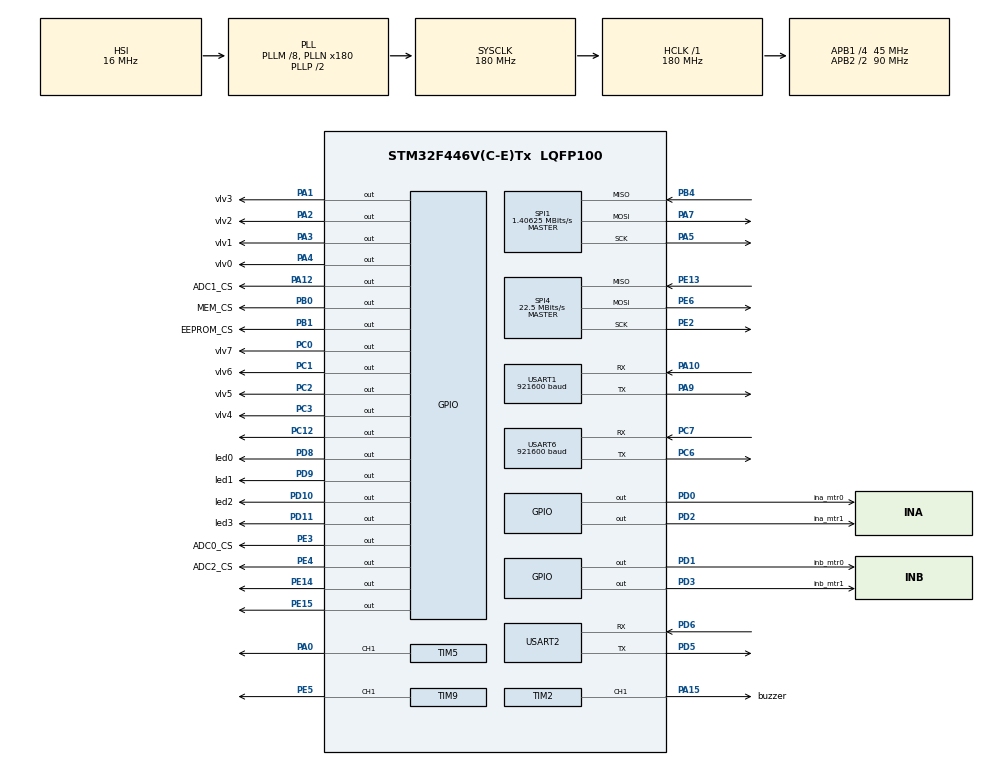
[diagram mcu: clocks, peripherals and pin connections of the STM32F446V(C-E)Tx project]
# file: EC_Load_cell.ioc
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Dma.Request0=USART6_RX
Dma.USART6_RX.0.Direction=DMA_PERIPH_TO_MEMORY
Dma.USART6_RX.0.FIFOMode=DMA_FIFOMODE_DISABLE
Dma.USART6_RX.0.Instance=DMA2_Stream1
Dma.USART6_RX.0.MemDataAlignment=DMA_MDATAALIGN_BYTE
Dma.USART6_RX.0.MemInc=DMA_MINC_ENABLE
Dma.USART6_RX.0.Mode=DMA_NORMAL
Dma.USART6_RX.0.PeriphDataAlignment=DMA_PDATAALIGN_BYTE
Dma.USART6_RX.0.PeriphInc=DMA_PINC_DISABLE
Dma.USART6_RX.0.Priority=DMA_PRIORITY_HIGH
Mcu.Family=STM32F4
Mcu.Name=STM32F446V(C-E)Tx
Mcu.Package=LQFP100
NVIC.DMA2_Stream1_IRQn=true\:0\:0\:false\:false\:true\:false
NVIC.PriorityGroup=NVIC_PRIORITYGROUP_4
NVIC.TIM4_IRQn=true\:1\:0\:true\:false\:true\:true
NVIC.TIM6_DAC_IRQn=true\:1\:0\:true\:false\:true\:true
NVIC.USART1_IRQn=true\:1\:0\:true\:false\:true\:true
NVIC.USART6_IRQn=true\:0\:0\:true\:false\:true\:true
PA0-WKUP.Signal=S_TIM5_CH1
PA1.GPIO_Label=vlv3
PA1.Signal=GPIO_Output
PA10.Mode=Asynchronous
PA10.Signal=USART1_RX
PA12.GPIO_Label=ADC1_CS
PA12.Signal=GPIO_Output
PA13.Mode=Trace_Asynchronous_SW
PA13.Signal=SYS_JTMS-SWDIO
PA14.Mode=Trace_Asynchronous_SW
PA14.Signal=SYS_JTCK-SWCLK
PA15.GPIO_Label=buzzer
PA15.Signal=S_TIM2_CH1_ETR
PA2.GPIO_Label=vlv2
PA2.Signal=GPIO_Output
PA3.GPIO_Label=vlv1
PA3.Signal=GPIO_Output
PA4.GPIO_Label=vlv0
PA4.Signal=GPIO_Output
PA5.Mode=Full_Duplex_Master
PA5.Signal=SPI1_SCK
PA7.Mode=Full_Duplex_Master
PA7.Signal=SPI1_MOSI
PA9.Mode=Asynchronous
PA9.Signal=USART1_TX
PB0.GPIO_Label=MEM_CS
PB0.Signal=GPIO_Output
PB1.GPIO_Label=EEPROM_CS
PB1.Signal=GPIO_Output
PB3.Mode=Trace_Asynchronous_SW
PB3.Signal=SYS_JTDO-SWO
PB4.Mode=Full_Duplex_Master
PB4.Signal=SPI1_MISO
PC0.GPIO_Label=vlv7
PC0.Signal=GPIO_Output
PC1.GPIO_Label=vlv6
PC1.Signal=GPIO_Output
PC12.Signal=GPIO_Output
PC2.GPIO_Label=vlv5
PC2.Signal=GPIO_Output
PC3.GPIO_Label=vlv4
PC3.Signal=GPIO_Output
PC6.Mode=Asynchronous
PC6.Signal=USART6_TX
PC7.Mode=Asynchronous
PC7.Signal=USART6_RX
PD0.GPIO_Label=ina_mtr0
PD0.Signal=GPIO_Output
PD1.GPIO_Label=inb_mtr0
PD1.Signal=GPIO_Output
PD10.GPIO_Label=led2
PD10.Signal=GPIO_Output
PD11.GPIO_Label=led3
PD11.Signal=GPIO_Output
PD2.GPIO_Label=ina_mtr1
PD2.Signal=GPIO_Output
PD3.GPIO_Label=inb_mtr1
PD3.Signal=GPIO_Output
PD5.Mode=Asynchronous
PD5.Signal=USART2_TX
PD6.Mode=Asynchronous
PD6.Signal=USART2_RX
PD8.GPIO_Label=led0
PD8.Signal=GPIO_Output
PD9.GPIO_Label=led1
PD9.Signal=GPIO_Output
PE13.Mode=Full_Duplex_Master
PE13.Signal=SPI4_MISO
PE14.Signal=GPIO_Output
PE15.Signal=GPIO_Output
PE2.Mode=Full_Duplex_Master
PE2.Signal=SPI4_SCK
PE3.GPIO_Label=ADC0_CS
PE3.Signal=GPIO_Output
PE4.GPIO_Label=ADC2_CS
PE4.Signal=GPIO_Output
PE5.Signal=S_TIM9_CH1
PE6.Mode=Full_Duplex_Master
PE6.Signal=SPI4_MOSI
ProjectManager.HeapSize=0x200
ProjectManager.StackSize=0x400
ProjectManager.TargetToolchain=TrueSTUDIO
RCC.AHBFreq_Value=180000000
RCC.APB1CLKDivider=RCC_HCLK_DIV4
RCC.APB1Freq_Value=45000000
RCC.APB1TimFreq_Value=90000000
RCC.APB2CLKDivider=RCC_HCLK_DIV2
RCC.APB2Freq_Value=90000000
RCC.APB2TimFreq_Value=180000000
RCC.CortexFreq_Value=180000000
RCC.HCLKFreq_Value=180000000
RCC.HSE_VALUE=16000000
RCC.PLLM=8
RCC.PLLN=180
RCC.SYSCLKFreq_VALUE=180000000
RCC.SYSCLKSource=RCC_SYSCLKSOURCE_PLLCLK
RCC.USBFreq_Value=180000000
RCC.VCOOutputFreq_Value=360000000
SH.S_TIM2_CH1_ETR.0=TIM2_CH1,PWM Generation1 CH1
SH.S_TIM5_CH1.0=TIM5_CH1,PWM Generation1 CH1
SH.S_TIM9_CH1.0=TIM9_CH1,PWM Generation1 CH1
SPI1.BaudRatePrescaler=SPI_BAUDRATEPRESCALER_64
SPI1.CLKPhase=SPI_PHASE_2EDGE
SPI1.CLKPolarity=SPI_POLARITY_HIGH
SPI1.CalculateBaudRate=1.40625 MBits/s
SPI1.Direction=SPI_DIRECTION_2LINES
SPI1.Mode=SPI_MODE_MASTER
SPI1.VirtualType=VM_MASTER
SPI4.BaudRatePrescaler=SPI_BAUDRATEPRESCALER_4
SPI4.CalculateBaudRate=22.5 MBits/s
SPI4.Direction=SPI_DIRECTION_2LINES
SPI4.Mode=SPI_MODE_MASTER
SPI4.VirtualType=VM_MASTER
TIM10.Period=4000
TIM10.Prescaler=180
TIM2.Channel-PWM\ Generation1\ CH1=TIM_CHANNEL_1
TIM2.Period=4294967295
TIM2.Prescaler=90
TIM4.Period=10000
TIM4.Prescaler=900
TIM5.Channel-PWM\ Generation1\ CH1=TIM_CHANNEL_1
TIM5.Prescaler=0
TIM6.Period=10000
TIM6.Prescaler=900
TIM7.Prescaler=900
TIM8.Period=32768
TIM8.Prescaler=4
TIM9.Channel-PWM\ Generation1\ CH1=TIM_CHANNEL_1
TIM9.Period=32768
TIM9.Prescaler=0
USART1.BaudRate=921600
USART1.VirtualMode=VM_ASYNC
USART2.VirtualMode=VM_ASYNC
USART6.BaudRate=921600
USART6.VirtualMode=VM_ASYNC
VP_TIM10_VS_ClockSourceINT.Mode=Enable_Timer
VP_TIM3_VS_ClockSourceINT.Mode=Internal
VP_TIM4_VS_ClockSourceINT.Mode=Internal
VP_TIM6_VS_ClockSourceINT.Mode=Enable_Timer
VP_TIM7_VS_ClockSourceINT.Mode=Enable_Timer
VP_TIM8_VS_ClockSourceINT.Mode=Internal
board=EC_Load_cell

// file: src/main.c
/**
  ******************************************************************************
  * @file           : main.c
  * @brief          : Main program body
  ******************************************************************************
  ** This notice applies to any and all portions of this file
  * that are not between comment pairs USER CODE BEGIN and
  * USER CODE END. Other portions of this file, whether
  * inserted by the user or by software development tools
  * are owned by their respective copyright owners.
  *
  * COPYRIGHT(c) 2018 STMicroelectronics
  *
  * Redistribution and use in source and binary forms, with or without modification,
  * are permitted provided that the following conditions are met:
  *   1. Redistributions of source code must retain the above copyright notice,
  *      this list of conditions and the following disclaimer.
  *   2. Redistributions in binary form must reproduce the above copyright notice,
  *      this list of conditions and the following disclaimer in the documentation
  *      and/or other materials provided with the distribution.
  *   3. Neither the name of STMicroelectronics nor the names of its contributors
  *      may be used to endorse or promote products derived from this software
  *      without specific prior written permission.
  *
  * THIS SOFTWARE IS PROVIDED BY THE COPYRIGHT HOLDERS AND CONTRIBUTORS "AS IS"
  * AND ANY EXPRESS OR IMPLIED WARRANTIES, INCLUDING, BUT NOT LIMITED TO, THE
  * IMPLIED WARRANTIES OF MERCHANTABILITY AND FITNESS FOR A PARTICULAR PURPOSE ARE
  * DISCLAIMED. IN NO EVENT SHALL THE COPYRIGHT HOLDER OR CONTRIBUTORS BE LIABLE
  * FOR ANY DIRECT, INDIRECT, INCIDENTAL, SPECIAL, EXEMPLARY, OR CONSEQUENTIAL
  * DAMAGES (INCLUDING, BUT NOT LIMITED TO, PROCUREMENT OF SUBSTITUTE GOODS OR
  * SERVICES; LOSS OF USE, DATA, OR PROFITS; OR BUSINESS INTERRUPTION) HOWEVER
  * CAUSED AND ON ANY THEORY OF LIABILITY, WHETHER IN CONTRACT, STRICT LIABILITY,
  * OR TORT (INCLUDING NEGLIGENCE OR OTHERWISE) ARISING IN ANY WAY OUT OF THE USE
  * OF THIS SOFTWARE, EVEN IF ADVISED OF THE POSSIBILITY OF SUCH DAMAGE.
  *
  ******************************************************************************
  */
#include "main.h"
#include "stm32f4xx_hal.h"

SPI_HandleTypeDef hspi1;
SPI_HandleTypeDef hspi4;

TIM_HandleTypeDef htim2;
TIM_HandleTypeDef htim3;
TIM_HandleTypeDef htim4;
TIM_HandleTypeDef htim5;
TIM_HandleTypeDef htim6;
TIM_HandleTypeDef htim7;
TIM_HandleTypeDef htim8;
TIM_HandleTypeDef htim9;
TIM_HandleTypeDef htim10;

UART_HandleTypeDef huart1;
UART_HandleTypeDef huart2;
UART_HandleTypeDef huart6;
DMA_HandleTypeDef hdma_usart6_rx;

/* USER CODE BEGIN PV */
/* Private variables ---------------------------------------------------------*/

/* USER CODE END PV */

void SystemClock_Config(void);
static void MX_GPIO_Init(void);
static void MX_DMA_Init(void);
static void MX_SPI1_Init(void);
static void MX_SPI4_Init(void);
static void MX_TIM2_Init(void);
static void MX_TIM9_Init(void);
static void MX_USART1_UART_Init(void);
static void MX_USART2_UART_Init(void);
static void MX_USART6_UART_Init(void);
static void MX_TIM3_Init(void);
static void MX_TIM4_Init(void);
static void MX_TIM6_Init(void);
static void MX_TIM7_Init(void);
static void MX_TIM8_Init(void);
static void MX_TIM10_Init(void);
static void MX_TIM5_Init(void);

void HAL_TIM_MspPostInit(TIM_HandleTypeDef *htim);

/* USER CODE BEGIN PFP */
/* Private function prototypes -----------------------------------------------*/

/* USER CODE END PFP */

/* USER CODE BEGIN 0 */

#define adc0 50
#define adc1 51
#define adc2 52
#define adc3 53
#define adc4 54

#define sram 60

#define millis	((__HAL_TIM_GET_COUNTER(&htim2))/1000)

uint16_t adc_data[5][16];		// 5 ADCs, 16 channels each.
float load[6];
float thrust_load;

#define SLOPE 0
#define OFFSET 1
float load_cal[2][6] = {{
		// SLOPES
		0.5,
		0.5,
		0.5,
		0.5,
		1,
		1,
},{
		// OFFSETS
		0,
		0,
		0,
		0,
		0,
		0,
}};

void set_device(uint8_t device, GPIO_PinState state){
	switch(device){
		case adc0:
			HAL_GPIO_WritePin(GPIOC, GPIO_PIN_12, state);
			break;
		case adc1:
			HAL_GPIO_WritePin(GPIOE, GPIO_PIN_15, state);
			break;
		case adc2:
			HAL_GPIO_WritePin(GPIOD, GPIO_PIN_0, state);
			break;
		case adc3:
			HAL_GPIO_WritePin(GPIOE, GPIO_PIN_14, state);
			break;
		case adc4:
			HAL_GPIO_WritePin(GPIOE, GPIO_PIN_4, state);
			break;

		case sram:
			HAL_GPIO_WritePin(GPIOC, GPIO_PIN_14, state);
			break;

		default:
			break;
	}
}
void select_device(uint8_t device){
	set_device(device, GPIO_PIN_RESET);
}
void release_device(uint8_t device){
	set_device(device, GPIO_PIN_SET);
}
void print_adc_raw(UART_HandleTypeDef device){

	uint8_t line[255];

	snprintf(line, sizeof(line), "\f\r\nChannel\tADC0\tADC1\tADC2\tADC3\tADC4\r\n", adc_data);
	while(HAL_UART_GetState(&device) == HAL_UART_STATE_BUSY_TX);
	HAL_UART_Transmit(&device, (uint8_t*)line, strlen(line), 1);

	for(uint8_t channel = 0; channel <= 15; channel++){
		HAL_Delay(40);
		snprintf(line, sizeof(line), "%d:\t%d\t%d\t%d\t%d\t%d\t\r\n", channel, adc_data[0][channel], adc_data[1][channel], adc_data[2][channel], adc_data[3][channel], adc_data[4][channel]);
		while(HAL_UART_GetState(&huart1) == HAL_UART_STATE_BUSY_TX);
		HAL_UART_Transmit(&device, (uint8_t*)line, strlen(line), 1);
	}

}
// Hardware wrappers
void read_adc(SPI_HandleTypeDef* SPI_BUS){

	// Temp Buffers
	uint8_t tx[2];
	uint8_t rx[2];

	 __disable_irq();

	uint8_t adcn = adc3;

		// Select channel 0 to start
		tx[0] = 0;
		tx[1] = 0b0000100;
		select_device(adcn);
		if(HAL_SPI_TransmitReceive(SPI_BUS, tx, rx, 2, 0xffff) ==  HAL_TIMEOUT){
		}
		release_device(adcn);

		for(uint8_t channel = 1; channel <= 16; channel++){

			tx[0] = (channel >> 1) | 0b00001000;
			tx[1] = (channel << 7) | 0b00000100;
			select_device(adcn);
			if(HAL_SPI_TransmitReceive(SPI_BUS, tx, rx, 2, 0xffff) == HAL_TIMEOUT){

			}

			release_device(adcn);
			adc_data[adcn-adc0][channel-1] = ((rx[1])|(rx[0] << 8)) & 0x0FFF;

		}

	 __enable_irq();
}

void scale_readings(){
	load[0] = adc_data[3][15];
	load[1] = adc_data[3][14];
	load[2] = adc_data[3][13];
	load[3] = adc_data[3][12];
	for(uint8_t n = 0; n < 6; n++){
		load[n] -= load_cal[OFFSET][n];
		load[n] *= load_cal[SLOPE][n];
	}
	thrust_load = load[0]+load[1]+load[2]+load[3];
}
/* USER CODE END 0 */

int main(void)
{

  /* MCU Configuration----------------------------------------------------------*/

  /* Reset of all peripherals, Initializes the Flash interface and the Systick. */
  HAL_Init();

  /* Configure the system clock */
  SystemClock_Config();

  /* Initialize all configured peripherals */
  MX_GPIO_Init();
  MX_DMA_Init();
  MX_SPI1_Init();
  MX_SPI4_Init();
  MX_TIM2_Init();
  MX_TIM9_Init();
  MX_USART1_UART_Init();
  MX_USART2_UART_Init();
  MX_USART6_UART_Init();
  MX_TIM3_Init();
  MX_TIM4_Init();
  MX_TIM6_Init();
  MX_TIM7_Init();
  MX_TIM8_Init();
  MX_TIM10_Init();
  MX_TIM5_Init();
  /* USER CODE BEGIN 2 */

  release_device(adc0);
  	release_device(adc1);
  	release_device(adc2);
  	release_device(adc3);
  	release_device(adc4);
  	release_device(sram);

  uint8_t tx[2];
  			uint8_t rx[2];

  			for(uint8_t adcn = adc0; adcn <= adc4; adcn++){

  				// Select channel 0 to start
  				tx[0] = 0;
  				tx[1] = 0;
  				select_device(adcn);
  				HAL_SPI_TransmitReceive_IT(&hspi1, tx, rx, 2);
  				release_device(adcn);
  			}
  /* USER CODE END 2 */

  /* Infinite loop */
  /* USER CODE BEGIN WHILE */
  while (1)
  {
		read_adc(&hspi1);
		scale_readings();
		uint8_t* msg[200];
		uint32_t time = HAL_GetTick();
		snprintf(msg, sizeof(msg), "%d,%.1f,%.1f,%.1f,%.1f,\r\n", time, load[0], load[1], load[2], load[3]);
		HAL_UART_Transmit(&huart1, msg, strlen(msg), 0xffff);
		HAL_Delay(1);
  /* USER CODE END WHILE */

  }

}

void SystemClock_Config(void)
{

  RCC_OscInitTypeDef RCC_OscInitStruct;
  RCC_ClkInitTypeDef RCC_ClkInitStruct;

    /**Configure the main internal regulator output voltage
    */
  __HAL_RCC_PWR_CLK_ENABLE();

  __HAL_PWR_VOLTAGESCALING_CONFIG(PWR_REGULATOR_VOLTAGE_SCALE1);

    /**Initializes the CPU, AHB and APB busses clocks
    */
  RCC_OscInitStruct.OscillatorType = RCC_OSCILLATORTYPE_HSI;
  RCC_OscInitStruct.HSIState = RCC_HSI_ON;
  RCC_OscInitStruct.HSICalibrationValue = 16;
  RCC_OscInitStruct.PLL.PLLState = RCC_PLL_ON;
  RCC_OscInitStruct.PLL.PLLSource = RCC_PLLSOURCE_HSI;
  RCC_OscInitStruct.PLL.PLLM = 8;
  RCC_OscInitStruct.PLL.PLLN = 180;
  RCC_OscInitStruct.PLL.PLLP = RCC_PLLP_DIV2;
  RCC_OscInitStruct.PLL.PLLQ = 2;
  RCC_OscInitStruct.PLL.PLLR = 2;
  if (HAL_RCC_OscConfig(&RCC_OscInitStruct) != HAL_OK)
  {
    _Error_Handler(__FILE__, __LINE__);
  }

    /**Activate the Over-Drive mode
    */
  if (HAL_PWREx_EnableOverDrive() != HAL_OK)
  {
    _Error_Handler(__FILE__, __LINE__);
  }

    /**Initializes the CPU, AHB and APB busses clocks
    */
  RCC_ClkInitStruct.ClockType = RCC_CLOCKTYPE_HCLK|RCC_CLOCKTYPE_SYSCLK
                              |RCC_CLOCKTYPE_PCLK1|RCC_CLOCKTYPE_PCLK2;
  RCC_ClkInitStruct.SYSCLKSource = RCC_SYSCLKSOURCE_PLLCLK;
  RCC_ClkInitStruct.AHBCLKDivider = RCC_SYSCLK_DIV1;
  RCC_ClkInitStruct.APB1CLKDivider = RCC_HCLK_DIV4;
  RCC_ClkInitStruct.APB2CLKDivider = RCC_HCLK_DIV2;

  if (HAL_RCC_ClockConfig(&RCC_ClkInitStruct, FLASH_LATENCY_5) != HAL_OK)
  {
    _Error_Handler(__FILE__, __LINE__);
  }

    /**Configure the Systick interrupt time
    */
  HAL_SYSTICK_Config(HAL_RCC_GetHCLKFreq()/1000);

    /**Configure the Systick
    */
  HAL_SYSTICK_CLKSourceConfig(SYSTICK_CLKSOURCE_HCLK);

  /* SysTick_IRQn interrupt configuration */
  HAL_NVIC_SetPriority(SysTick_IRQn, 1, 0);
}

/* SPI1 init function */
static void MX_SPI1_Init(void)
{

  /* SPI1 parameter configuration*/
  hspi1.Instance = SPI1;
  hspi1.Init.Mode = SPI_MODE_MASTER;
  hspi1.Init.Direction = SPI_DIRECTION_2LINES;
  hspi1.Init.DataSize = SPI_DATASIZE_8BIT;
  hspi1.Init.CLKPolarity = SPI_POLARITY_HIGH;
  hspi1.Init.CLKPhase = SPI_PHASE_2EDGE;
  hspi1.Init.NSS = SPI_NSS_SOFT;
  hspi1.Init.BaudRatePrescaler = SPI_BAUDRATEPRESCALER_64;
  hspi1.Init.FirstBit = SPI_FIRSTBIT_MSB;
  hspi1.Init.TIMode = SPI_TIMODE_DISABLE;
  hspi1.Init.CRCCalculation = SPI_CRCCALCULATION_DISABLE;
  hspi1.Init.CRCPolynomial = 10;
  if (HAL_SPI_Init(&hspi1) != HAL_OK)
  {
    _Error_Handler(__FILE__, __LINE__);
  }

}

/* SPI4 init function */
static void MX_SPI4_Init(void)
{

  /* SPI4 parameter configuration*/
  hspi4.Instance = SPI4;
  hspi4.Init.Mode = SPI_MODE_MASTER;
  hspi4.Init.Direction = SPI_DIRECTION_2LINES;
  hspi4.Init.DataSize = SPI_DATASIZE_8BIT;
  hspi4.Init.CLKPolarity = SPI_POLARITY_LOW;
  hspi4.Init.CLKPhase = SPI_PHASE_1EDGE;
  hspi4.Init.NSS = SPI_NSS_SOFT;
  hspi4.Init.BaudRatePrescaler = SPI_BAUDRATEPRESCALER_4;
  hspi4.Init.FirstBit = SPI_FIRSTBIT_MSB;
  hspi4.Init.TIMode = SPI_TIMODE_DISABLE;
  hspi4.Init.CRCCalculation = SPI_CRCCALCULATION_DISABLE;
  hspi4.Init.CRCPolynomial = 10;
  if (HAL_SPI_Init(&hspi4) != HAL_OK)
  {
    _Error_Handler(__FILE__, __LINE__);
  }

}

/* TIM2 init function */
static void MX_TIM2_Init(void)
{

  TIM_MasterConfigTypeDef sMasterConfig;
  TIM_OC_InitTypeDef sConfigOC;

  htim2.Instance = TIM2;
  htim2.Init.Prescaler = 90;
  htim2.Init.CounterMode = TIM_COUNTERMODE_UP;
  htim2.Init.Period = 4294967295;
  htim2.Init.ClockDivision = TIM_CLOCKDIVISION_DIV1;
  if (HAL_TIM_PWM_Init(&htim2) != HAL_OK)
  {
    _Error_Handler(__FILE__, __LINE__);
  }

  sMasterConfig.MasterOutputTrigger = TIM_TRGO_RESET;
  sMasterConfig.MasterSlaveMode = TIM_MASTERSLAVEMODE_DISABLE;
  if (HAL_TIMEx_MasterConfigSynchronization(&htim2, &sMasterConfig) != HAL_OK)
  {
    _Error_Handler(__FILE__, __LINE__);
  }

  sConfigOC.OCMode = TIM_OCMODE_PWM1;
  sConfigOC.Pulse = 0;
  sConfigOC.OCPolarity = TIM_OCPOLARITY_HIGH;
  sConfigOC.OCFastMode = TIM_OCFAST_DISABLE;
  if (HAL_TIM_PWM_ConfigChannel(&htim2, &sConfigOC, TIM_CHANNEL_1) != HAL_OK)
  {
    _Error_Handler(__FILE__, __LINE__);
  }

  HAL_TIM_MspPostInit(&htim2);

}

/* TIM3 init function */
static void MX_TIM3_Init(void)
{

  TIM_ClockConfigTypeDef sClockSourceConfig;
  TIM_MasterConfigTypeDef sMasterConfig;

  htim3.Instance = TIM3;
  htim3.Init.Prescaler = 0;
  htim3.Init.CounterMode = TIM_COUNTERMODE_UP;
  htim3.Init.Period = 0;
  htim3.Init.ClockDivision = TIM_CLOCKDIVISION_DIV1;
  if (HAL_TIM_Base_Init(&htim3) != HAL_OK)
  {
    _Error_Handler(__FILE__, __LINE__);
  }

  sClockSourceConfig.ClockSource = TIM_CLOCKSOURCE_INTERNAL;
  if (HAL_TIM_ConfigClockSource(&htim3, &sClockSourceConfig) != HAL_OK)
  {
    _Error_Handler(__FILE__, __LINE__);
  }

  sMasterConfig.MasterOutputTrigger = TIM_TRGO_RESET;
  sMasterConfig.MasterSlaveMode = TIM_MASTERSLAVEMODE_DISABLE;
  if (HAL_TIMEx_MasterConfigSynchronization(&htim3, &sMasterConfig) != HAL_OK)
  {
    _Error_Handler(__FILE__, __LINE__);
  }

}

/* TIM4 init function */
static void MX_TIM4_Init(void)
{

  TIM_ClockConfigTypeDef sClockSourceConfig;
  TIM_MasterConfigTypeDef sMasterConfig;

  htim4.Instance = TIM4;
  htim4.Init.Prescaler = 900;
  htim4.Init.CounterMode = TIM_COUNTERMODE_UP;
  htim4.Init.Period = 10000;
  htim4.Init.ClockDivision = TIM_CLOCKDIVISION_DIV1;
  if (HAL_TIM_Base_Init(&htim4) != HAL_OK)
  {
    _Error_Handler(__FILE__, __LINE__);
  }

  sClockSourceConfig.ClockSource = TIM_CLOCKSOURCE_INTERNAL;
  if (HAL_TIM_ConfigClockSource(&htim4, &sClockSourceConfig) != HAL_OK)
  {
    _Error_Handler(__FILE__, __LINE__);
  }

  sMasterConfig.MasterOutputTrigger = TIM_TRGO_RESET;
  sMasterConfig.MasterSlaveMode = TIM_MASTERSLAVEMODE_DISABLE;
  if (HAL_TIMEx_MasterConfigSynchronization(&htim4, &sMasterConfig) != HAL_OK)
  {
    _Error_Handler(__FILE__, __LINE__);
  }

}

/* TIM5 init function */
static void MX_TIM5_Init(void)
{

  TIM_MasterConfigTypeDef sMasterConfig;
  TIM_OC_InitTypeDef sConfigOC;

  htim5.Instance = TIM5;
  htim5.Init.Prescaler = 0;
  htim5.Init.CounterMode = TIM_COUNTERMODE_UP;
  htim5.Init.Period = 0;
  htim5.Init.ClockDivision = TIM_CLOCKDIVISION_DIV1;
  if (HAL_TIM_PWM_Init(&htim5) != HAL_OK)
  {
    _Error_Handler(__FILE__, __LINE__);
  }

  sMasterConfig.MasterOutputTrigger = TIM_TRGO_RESET;
  sMasterConfig.MasterSlaveMode = TIM_MASTERSLAVEMODE_DISABLE;
  if (HAL_TIMEx_MasterConfigSynchronization(&htim5, &sMasterConfig) != HAL_OK)
  {
    _Error_Handler(__FILE__, __LINE__);
  }

  sConfigOC.OCMode = TIM_OCMODE_PWM1;
  sConfigOC.Pulse = 0;
  sConfigOC.OCPolarity = TIM_OCPOLARITY_HIGH;
  sConfigOC.OCFastMode = TIM_OCFAST_DISABLE;
  if (HAL_TIM_PWM_ConfigChannel(&htim5, &sConfigOC, TIM_CHANNEL_1) != HAL_OK)
  {
    _Error_Handler(__FILE__, __LINE__);
  }

  HAL_TIM_MspPostInit(&htim5);

}

/* TIM6 init function */
static void MX_TIM6_Init(void)
{

  TIM_MasterConfigTypeDef sMasterConfig;

  htim6.Instance = TIM6;
  htim6.Init.Prescaler = 900;
  htim6.Init.CounterMode = TIM_COUNTERMODE_UP;
  htim6.Init.Period = 10000;
  if (HAL_TIM_Base_Init(&htim6) != HAL_OK)
  {
    _Error_Handler(__FILE__, __LINE__);
  }

  sMasterConfig.MasterOutputTrigger = TIM_TRGO_RESET;
  sMasterConfig.MasterSlaveMode = TIM_MASTERSLAVEMODE_DISABLE;
  if (HAL_TIMEx_MasterConfigSynchronization(&htim6, &sMasterConfig) != HAL_OK)
  {
    _Error_Handler(__FILE__, __LINE__);
  }

}

/* TIM7 init function */
static void MX_TIM7_Init(void)
{

  TIM_MasterConfigTypeDef sMasterConfig;

  htim7.Instance = TIM7;
  htim7.Init.Prescaler = 900;
  htim7.Init.CounterMode = TIM_COUNTERMODE_UP;
  htim7.Init.Period = 0;
  if (HAL_TIM_Base_Init(&htim7) != HAL_OK)
  {
    _Error_Handler(__FILE__, __LINE__);
  }

  sMasterConfig.MasterOutputTrigger = TIM_TRGO_RESET;
  sMasterConfig.MasterSlaveMode = TIM_MASTERSLAVEMODE_DISABLE;
  if (HAL_TIMEx_MasterConfigSynchronization(&htim7, &sMasterConfig) != HAL_OK)
  {
    _Error_Handler(__FILE__, __LINE__);
  }

}

/* TIM8 init function */
static void MX_TIM8_Init(void)
{

  TIM_ClockConfigTypeDef sClockSourceConfig;
  TIM_MasterConfigTypeDef sMasterConfig;

  htim8.Instance = TIM8;
  htim8.Init.Prescaler = 4;
  htim8.Init.CounterMode = TIM_COUNTERMODE_UP;
  htim8.Init.Period = 32768;
  htim8.Init.ClockDivision = TIM_CLOCKDIVISION_DIV1;
  htim8.Init.RepetitionCounter = 0;
  if (HAL_TIM_Base_Init(&htim8) != HAL_OK)
  {
    _Error_Handler(__FILE__, __LINE__);
  }

  sClockSourceConfig.ClockSource = TIM_CLOCKSOURCE_INTERNAL;
  if (HAL_TIM_ConfigClockSource(&htim8, &sClockSourceConfig) != HAL_OK)
  {
    _Error_Handler(__FILE__, __LINE__);
  }

  sMasterConfig.MasterOutputTrigger = TIM_TRGO_RESET;
  sMasterConfig.MasterSlaveMode = TIM_MASTERSLAVEMODE_DISABLE;
  if (HAL_TIMEx_MasterConfigSynchronization(&htim8, &sMasterConfig) != HAL_OK)
  {
    _Error_Handler(__FILE__, __LINE__);
  }

}

/* TIM9 init function */
static void MX_TIM9_Init(void)
{

  TIM_OC_InitTypeDef sConfigOC;

  htim9.Instance = TIM9;
  htim9.Init.Prescaler = 0;
  htim9.Init.CounterMode = TIM_COUNTERMODE_UP;
  htim9.Init.Period = 32768;
  htim9.Init.ClockDivision = TIM_CLOCKDIVISION_DIV1;
  if (HAL_TIM_PWM_Init(&htim9) != HAL_OK)
  {
    _Error_Handler(__FILE__, __LINE__);
  }

  sConfigOC.OCMode = TIM_OCMODE_PWM1;
  sConfigOC.Pulse = 0;
  sConfigOC.OCPolarity = TIM_OCPOLARITY_HIGH;
  sConfigOC.OCFastMode = TIM_OCFAST_DISABLE;
  if (HAL_TIM_PWM_ConfigChannel(&htim9, &sConfigOC, TIM_CHANNEL_1) != HAL_OK)
  {
    _Error_Handler(__FILE__, __LINE__);
  }

  HAL_TIM_MspPostInit(&htim9);

}

/* TIM10 init function */
static void MX_TIM10_Init(void)
{

  htim10.Instance = TIM10;
  htim10.Init.Prescaler = 180;
  htim10.Init.CounterMode = TIM_COUNTERMODE_UP;
  htim10.Init.Period = 4000;
  htim10.Init.ClockDivision = TIM_CLOCKDIVISION_DIV1;
  if (HAL_TIM_Base_Init(&htim10) != HAL_OK)
  {
    _Error_Handler(__FILE__, __LINE__);
  }

}

/* USART1 init function */
static void MX_USART1_UART_Init(void)
{

  huart1.Instance = USART1;
  huart1.Init.BaudRate = 921600;
  huart1.Init.WordLength = UART_WORDLENGTH_8B;
  huart1.Init.StopBits = UART_STOPBITS_1;
  huart1.Init.Parity = UART_PARITY_NONE;
  huart1.Init.Mode = UART_MODE_TX_RX;
  huart1.Init.HwFlowCtl = UART_HWCONTROL_NONE;
  huart1.Init.OverSampling = UART_OVERSAMPLING_16;
  if (HAL_UART_Init(&huart1) != HAL_OK)
  {
    _Error_Handler(__FILE__, __LINE__);
  }

}

/* USART2 init function */
static void MX_USART2_UART_Init(void)
{

  huart2.Instance = USART2;
  huart2.Init.BaudRate = 115200;
  huart2.Init.WordLength = UART_WORDLENGTH_8B;
  huart2.Init.StopBits = UART_STOPBITS_1;
  huart2.Init.Parity = UART_PARITY_NONE;
  huart2.Init.Mode = UART_MODE_TX_RX;
  huart2.Init.HwFlowCtl = UART_HWCONTROL_NONE;
  huart2.Init.OverSampling = UART_OVERSAMPLING_16;
  if (HAL_UART_Init(&huart2) != HAL_OK)
  {
    _Error_Handler(__FILE__, __LINE__);
  }

}

/* USART6 init function */
static void MX_USART6_UART_Init(void)
{

  huart6.Instance = USART6;
  huart6.Init.BaudRate = 921600;
  huart6.Init.WordLength = UART_WORDLENGTH_8B;
  huart6.Init.StopBits = UART_STOPBITS_1;
  huart6.Init.Parity = UART_PARITY_NONE;
  huart6.Init.Mode = UART_MODE_TX_RX;
  huart6.Init.HwFlowCtl = UART_HWCONTROL_NONE;
  huart6.Init.OverSampling = UART_OVERSAMPLING_16;
  if (HAL_UART_Init(&huart6) != HAL_OK)
  {
    _Error_Handler(__FILE__, __LINE__);
  }

}

static void MX_DMA_Init(void)
{
  /* DMA controller clock enable */
  __HAL_RCC_DMA2_CLK_ENABLE();

  /* DMA interrupt init */
  /* DMA2_Stream1_IRQn interrupt configuration */
  HAL_NVIC_SetPriority(DMA2_Stream1_IRQn, 0, 0);
  HAL_NVIC_EnableIRQ(DMA2_Stream1_IRQn);

}

/** Configure pins as
        * Analog
        * Input
        * Output
        * EVENT_OUT
        * EXTI
*/
static void MX_GPIO_Init(void)
{

  GPIO_InitTypeDef GPIO_InitStruct;

  /* GPIO Ports Clock Enable */
  __HAL_RCC_GPIOE_CLK_ENABLE();
  __HAL_RCC_GPIOC_CLK_ENABLE();
  __HAL_RCC_GPIOA_CLK_ENABLE();
  __HAL_RCC_GPIOB_CLK_ENABLE();
  __HAL_RCC_GPIOD_CLK_ENABLE();

  /*Configure GPIO pin Output Level */
  HAL_GPIO_WritePin(GPIOE, ADC0_CS_Pin|ADC2_CS_Pin|GPIO_PIN_14|GPIO_PIN_15, GPIO_PIN_RESET);

  /*Configure GPIO pin Output Level */
  HAL_GPIO_WritePin(GPIOC, vlv7_Pin|vlv6_Pin|vlv5_Pin|vlv4_Pin
                          |GPIO_PIN_12, GPIO_PIN_RESET);

  /*Configure GPIO pin Output Level */
  HAL_GPIO_WritePin(GPIOA, vlv3_Pin|vlv2_Pin|vlv1_Pin|vlv0_Pin
                          |ADC1_CS_Pin, GPIO_PIN_RESET);

  /*Configure GPIO pin Output Level */
  HAL_GPIO_WritePin(GPIOB, MEM_CS_Pin|EEPROM_CS_Pin, GPIO_PIN_RESET);

  /*Configure GPIO pin Output Level */
  HAL_GPIO_WritePin(GPIOD, led0_Pin|led1_Pin|led2_Pin|led3_Pin
                          |ina_mtr0_Pin|inb_mtr0_Pin|ina_mtr1_Pin|inb_mtr1_Pin, GPIO_PIN_RESET);

  /*Configure GPIO pins : ADC0_CS_Pin ADC2_CS_Pin PE14 PE15 */
  GPIO_InitStruct.Pin = ADC0_CS_Pin|ADC2_CS_Pin|GPIO_PIN_14|GPIO_PIN_15;
  GPIO_InitStruct.Mode = GPIO_MODE_OUTPUT_PP;
  GPIO_InitStruct.Pull = GPIO_NOPULL;
  GPIO_InitStruct.Speed = GPIO_SPEED_FREQ_LOW;
  HAL_GPIO_Init(GPIOE, &GPIO_InitStruct);

  /*Configure GPIO pins : vlv7_Pin vlv6_Pin vlv5_Pin vlv4_Pin
                           PC12 */
  GPIO_InitStruct.Pin = vlv7_Pin|vlv6_Pin|vlv5_Pin|vlv4_Pin
                          |GPIO_PIN_12;
  GPIO_InitStruct.Mode = GPIO_MODE_OUTPUT_PP;
  GPIO_InitStruct.Pull = GPIO_NOPULL;
  GPIO_InitStruct.Speed = GPIO_SPEED_FREQ_LOW;
  HAL_GPIO_Init(GPIOC, &GPIO_InitStruct);

  /*Configure GPIO pins : vlv3_Pin vlv2_Pin vlv1_Pin vlv0_Pin
                           ADC1_CS_Pin */
  GPIO_InitStruct.Pin = vlv3_Pin|vlv2_Pin|vlv1_Pin|vlv0_Pin
                          |ADC1_CS_Pin;
  GPIO_InitStruct.Mode = GPIO_MODE_OUTPUT_PP;
  GPIO_InitStruct.Pull = GPIO_NOPULL;
  GPIO_InitStruct.Speed = GPIO_SPEED_FREQ_LOW;
  HAL_GPIO_Init(GPIOA, &GPIO_InitStruct);

  /*Configure GPIO pins : MEM_CS_Pin EEPROM_CS_Pin */
  GPIO_InitStruct.Pin = MEM_CS_Pin|EEPROM_CS_Pin;
  GPIO_InitStruct.Mode = GPIO_MODE_OUTPUT_PP;
  GPIO_InitStruct.Pull = GPIO_NOPULL;
  GPIO_InitStruct.Speed = GPIO_SPEED_FREQ_LOW;
  HAL_GPIO_Init(GPIOB, &GPIO_InitStruct);

  /*Configure GPIO pins : led0_Pin led1_Pin led2_Pin led3_Pin
                           ina_mtr0_Pin inb_mtr0_Pin ina_mtr1_Pin inb_mtr1_Pin */
  GPIO_InitStruct.Pin = led0_Pin|led1_Pin|led2_Pin|led3_Pin
                          |ina_mtr0_Pin|inb_mtr0_Pin|ina_mtr1_Pin|inb_mtr1_Pin;
  GPIO_InitStruct.Mode = GPIO_MODE_OUTPUT_PP;
  GPIO_InitStruct.Pull = GPIO_NOPULL;
  GPIO_InitStruct.Speed = GPIO_SPEED_FREQ_LOW;
  HAL_GPIO_Init(GPIOD, &GPIO_InitStruct);

}

void _Error_Handler(char *file, int line)
{
  while(1)
  {
  }
}

/************************ (C) COPYRIGHT STMicroelectronics *****END OF FILE****/
